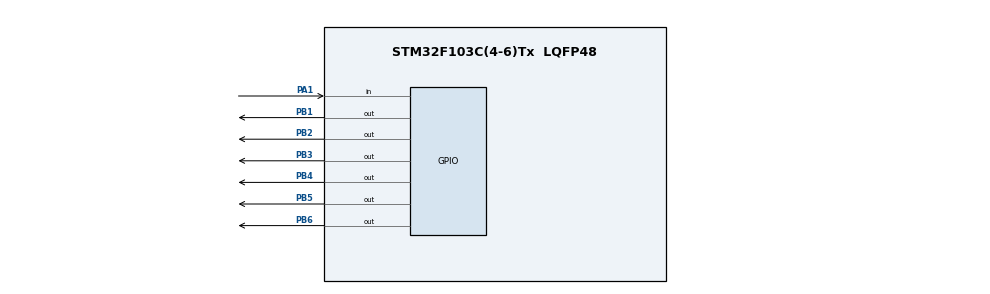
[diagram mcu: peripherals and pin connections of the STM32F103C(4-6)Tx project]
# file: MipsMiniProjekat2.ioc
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ADC1.Channel-0\#ChannelRegularConversion=ADC_CHANNEL_TEMPSENSOR
ADC1.NbrOfConversionFlag=1
ADC1.Rank-0\#ChannelRegularConversion=1
ADC1.SamplingTime-0\#ChannelRegularConversion=ADC_SAMPLETIME_1CYCLE_5
ADC1.master=1
Mcu.Family=STM32F1
Mcu.Name=STM32F103C(4-6)Tx
Mcu.Package=LQFP48
NVIC.PriorityGroup=NVIC_PRIORITYGROUP_4
PA1.Signal=GPIO_Input
PB1.Signal=GPIO_Output
PB2.Signal=GPIO_Output
PB3.Signal=GPIO_Output
PB4.Signal=GPIO_Output
PB5.Signal=GPIO_Output
PB6.Signal=GPIO_Output
PC14-OSC32_IN.Mode=LSE-External-Oscillator
PC14-OSC32_IN.Signal=RCC_OSC32_IN
PC15-OSC32_OUT.Mode=LSE-External-Oscillator
PC15-OSC32_OUT.Signal=RCC_OSC32_OUT
PD0-OSC_IN.Mode=HSE-External-Oscillator
PD0-OSC_IN.Signal=RCC_OSC_IN
PD1-OSC_OUT.Mode=HSE-External-Oscillator
PD1-OSC_OUT.Signal=RCC_OSC_OUT
ProjectManager.HeapSize=0x200
ProjectManager.StackSize=0x400
ProjectManager.TargetToolchain=STM32CubeIDE
RCC.APB1Freq_Value=8000000
RCC.APB2Freq_Value=8000000
VP_ADC1_TempSens_Input.Mode=IN-TempSens
VP_SYS_VS_ND.Mode=No_Debug
board=custom

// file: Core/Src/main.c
/* USER CODE BEGIN Header */
/**
  ******************************************************************************
  * @file           : main.c
  * @brief          : Main program body
  ******************************************************************************
  * @attention
  *
  * Copyright (c) 2023 STMicroelectronics.
  * All rights reserved.
  *
  * This software is licensed under terms that can be found in the LICENSE file
  * in the root directory of this software component.
  * If no LICENSE file comes with this software, it is provided AS-IS.
  *
  ******************************************************************************
  */
/* USER CODE END Header */
#include "main.h"
#include "stm32f1xx_hal_adc.h"

/* USER CODE BEGIN PD */

#define TMP_SENS GPIO_PIN_1

#define PUL1 GPIO_PIN_1
#define DIR1 GPIO_PIN_2
#define ENA1 GPIO_PIN_3

#define PUL2 GPIO_PIN_4
#define DIR2 GPIO_PIN_5
#define ENA2 GPIO_PIN_6

#define M1_STEP 1.8
#define M2_STEP 1.8

#define MAX_TEMP 55

/* USER CODE END PD */

ADC_HandleTypeDef hadc1;

void SystemClock_Config(void);
static void MX_GPIO_Init(void);
static void MX_ADC1_Init(void);

/* USER CODE BEGIN 0 */

int vrstaEpruvete[] = {1, 3, 0, 1, 2, 0, 3, 3, 1, 1, 0};

void m1_start() {
    HAL_GPIO_WritePin(GPIOB, ENA1, GPIO_PIN_SET);
}

void m1_stop() {
    HAL_GPIO_WritePin(GPIOB, ENA1, GPIO_PIN_RESET);
}
void m2_start() {
    HAL_GPIO_WritePin(GPIOB,ENA2, GPIO_PIN_SET);
}

void m2_stop() {
    HAL_GPIO_WritePin(GPIOB, ENA2, GPIO_PIN_RESET);
}

float readTemperature(void) {
    HAL_ADC_Start(&hadc1);
    HAL_ADC_PollForConversion(&hadc1, HAL_MAX_DELAY);

    uint16_t adcValue = HAL_ADC_GetValue(&hadc1);

    float temperature = (float)((110.0 - 30.0) / (float)(int)(0xFFF) * (float)(adcValue - 0x0) + 30.0);

    return temperature;
}

void m1_rotate(uint16_t steps, GPIO_PinState direction) {
    HAL_GPIO_WritePin(GPIOB, DIR1, direction);

    m1_start();

    for (uint16_t i = 0; i < steps; i++) {
        HAL_GPIO_WritePin(GPIOB, PUL1, GPIO_PIN_SET);
        HAL_Delay(1);
        HAL_GPIO_WritePin(GPIOB, PUL1, GPIO_PIN_RESET);
        HAL_Delay(1);
    }

    m1_stop();
}

void m2_rotate(uint16_t steps, GPIO_PinState direction) {
    HAL_GPIO_WritePin(GPIOB, DIR2, direction);

    m2_start();

    for (uint16_t i = 0; i < steps; i++) {
        HAL_GPIO_WritePin(GPIOB, PUL2, GPIO_PIN_SET);
        HAL_GPIO_WritePin(GPIOB, PUL2, GPIO_PIN_RESET);
        HAL_Delay(1);
    }

    m2_stop();
}

void izbaciEpruvetu(void) {
    int trenutnaEpruveta = vrstaEpruvete[1];
    int brojKoraka = 100;

    uint16_t koraci = 0;

    switch (trenutnaEpruveta) {
        case 0:
            koraci = brojKoraka;
            break;
        case 1:
            koraci = brojKoraka;
            break;
        default:
            return;
    }

    m2_rotate(koraci, GPIO_PIN_SET);

    vrstaEpruvete[1] = -1;

}

/* USER CODE END 0 */

int main(void)
{

  /* MCU Configuration--------------------------------------------------------*/

  /* Reset of all peripherals, Initializes the Flash interface and the Systick. */
  HAL_Init();

  /* Configure the system clock */
  SystemClock_Config();

  /* Initialize all configured peripherals */
  MX_GPIO_Init();
  MX_ADC1_Init();

  /* Infinite loop */
  while (1)
  {

      float trenutna_temp = readTemperature();

      if(trenutna_temp < MAX_TEMP){
          m1_start();
      }
      else{
		 izbaciEpruvetu();
		 m1_stop();

         HAL_Delay(200);

         m2_start();

         HAL_Delay(200);

         m2_stop();
	  }
}
}

void SystemClock_Config(void)
{
  RCC_OscInitTypeDef RCC_OscInitStruct = {0};
  RCC_ClkInitTypeDef RCC_ClkInitStruct = {0};
  RCC_PeriphCLKInitTypeDef PeriphClkInit = {0};

  /** Initializes the RCC Oscillators according to the specified parameters
  * in the RCC_OscInitTypeDef structure.
  */
  RCC_OscInitStruct.OscillatorType = RCC_OSCILLATORTYPE_HSI;
  RCC_OscInitStruct.HSIState = RCC_HSI_ON;
  RCC_OscInitStruct.HSICalibrationValue = RCC_HSICALIBRATION_DEFAULT;
  RCC_OscInitStruct.PLL.PLLState = RCC_PLL_NONE;
  if (HAL_RCC_OscConfig(&RCC_OscInitStruct) != HAL_OK)
  {
    Error_Handler();
  }

  /** Initializes the CPU, AHB and APB buses clocks
  */
  RCC_ClkInitStruct.ClockType = RCC_CLOCKTYPE_HCLK|RCC_CLOCKTYPE_SYSCLK
                              |RCC_CLOCKTYPE_PCLK1|RCC_CLOCKTYPE_PCLK2;
  RCC_ClkInitStruct.SYSCLKSource = RCC_SYSCLKSOURCE_HSI;
  RCC_ClkInitStruct.AHBCLKDivider = RCC_SYSCLK_DIV1;
  RCC_ClkInitStruct.APB1CLKDivider = RCC_HCLK_DIV1;
  RCC_ClkInitStruct.APB2CLKDivider = RCC_HCLK_DIV1;

  if (HAL_RCC_ClockConfig(&RCC_ClkInitStruct, FLASH_LATENCY_0) != HAL_OK)
  {
    Error_Handler();
  }
  PeriphClkInit.PeriphClockSelection = RCC_PERIPHCLK_ADC;
  PeriphClkInit.AdcClockSelection = RCC_ADCPCLK2_DIV2;
  if (HAL_RCCEx_PeriphCLKConfig(&PeriphClkInit) != HAL_OK)
  {
    Error_Handler();
  }
}

static void MX_ADC1_Init(void)
{

  ADC_ChannelConfTypeDef sConfig = {0};

  /** Common config
  */
  hadc1.Instance = ADC1;
  hadc1.Init.ScanConvMode = ADC_SCAN_DISABLE;
  hadc1.Init.ContinuousConvMode = DISABLE;
  hadc1.Init.DiscontinuousConvMode = DISABLE;
  hadc1.Init.ExternalTrigConv = ADC_SOFTWARE_START;
  hadc1.Init.DataAlign = ADC_DATAALIGN_RIGHT;
  hadc1.Init.NbrOfConversion = 1;
  if (HAL_ADC_Init(&hadc1) != HAL_OK)
  {
    Error_Handler();
  }

  /** Configure Regular Channel
  */
  sConfig.Channel = ADC_CHANNEL_TEMPSENSOR;
  sConfig.Rank = ADC_REGULAR_RANK_1;
  sConfig.SamplingTime = ADC_SAMPLETIME_1CYCLE_5;
  if (HAL_ADC_ConfigChannel(&hadc1, &sConfig) != HAL_OK)
  {
    Error_Handler();
  }

}

static void MX_GPIO_Init(void)
{
  GPIO_InitTypeDef GPIO_InitStruct = {0};

  /* GPIO Ports Clock Enable */
  __HAL_RCC_GPIOC_CLK_ENABLE();
  __HAL_RCC_GPIOD_CLK_ENABLE();
  __HAL_RCC_GPIOA_CLK_ENABLE();
  __HAL_RCC_GPIOB_CLK_ENABLE();

  /*Configure GPIO pin Output Level */
  HAL_GPIO_WritePin(GPIOB, GPIO_PIN_1|GPIO_PIN_2|GPIO_PIN_3|GPIO_PIN_4
                          |GPIO_PIN_5|GPIO_PIN_6, GPIO_PIN_RESET);

  /*Configure GPIO pin : PA1 */
  GPIO_InitStruct.Pin = GPIO_PIN_1;
  GPIO_InitStruct.Mode = GPIO_MODE_INPUT;
  GPIO_InitStruct.Pull = GPIO_NOPULL;
  HAL_GPIO_Init(GPIOA, &GPIO_InitStruct);

  /*Configure GPIO pins : PB1 PB2 PB3 PB4
                           PB5 PB6 */
  GPIO_InitStruct.Pin = GPIO_PIN_1|GPIO_PIN_2|GPIO_PIN_3|GPIO_PIN_4
                          |GPIO_PIN_5|GPIO_PIN_6;
  GPIO_InitStruct.Mode = GPIO_MODE_OUTPUT_PP;
  GPIO_InitStruct.Pull = GPIO_NOPULL;
  GPIO_InitStruct.Speed = GPIO_SPEED_FREQ_LOW;
  HAL_GPIO_Init(GPIOB, &GPIO_InitStruct);

}

void Error_Handler(void)
{
  __disable_irq();
  while (1)
  {
  }
}
